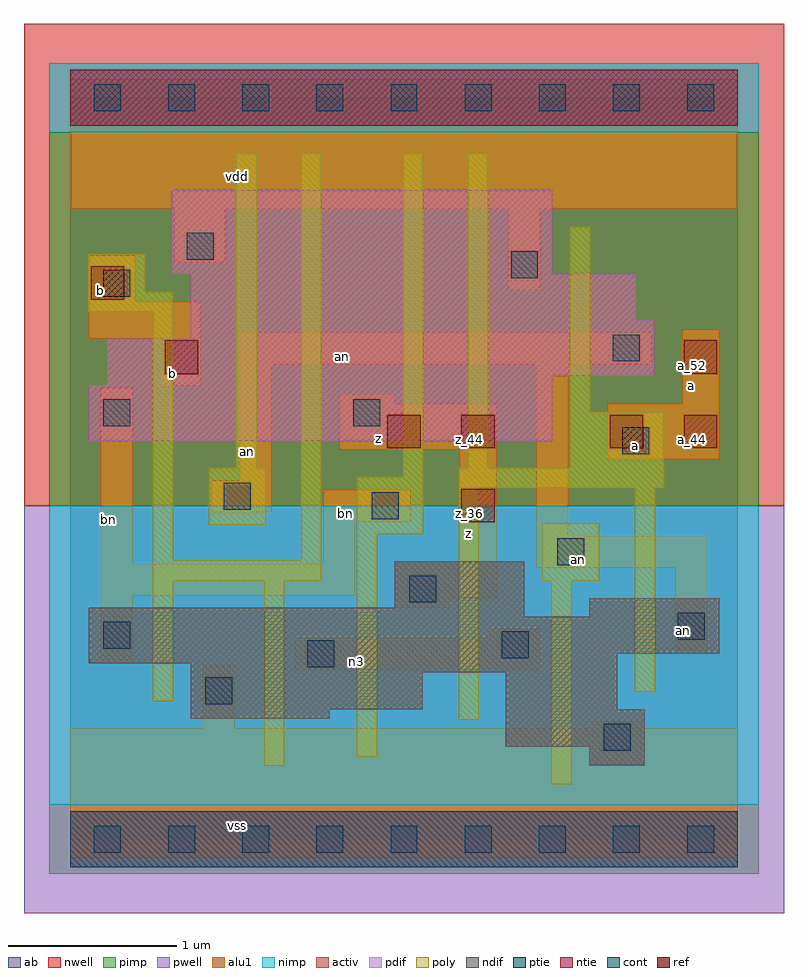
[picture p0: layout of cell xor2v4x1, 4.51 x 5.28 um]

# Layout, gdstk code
import gdstk
lib = gdstk.Library(unit=1e-6, precision=2.5e-09)
def R(c, l, rs):  # rectangles x0, y0, x1, y1
    for r in rs: c.add(gdstk.rectangle(r[:2], r[2:], *l))
def A(c, l, x, y, w, h, nx, ny, dx, dy):  # array of equal rectangles
    R(c, l, [(x+i*dx, y+j*dy, x+i*dx+w, y+j*dy+h) for i in range(nx) for j in range(ny)])
ndif = (3, 0)
pdif = (4, 0)
ntie = (5, 0)
ptie = (6, 0)
ref = (24, 0)
cont = (25, 0)
pwell = (41, 0)
nwell = (42, 0)
activ = (43, 0)
pimp = (44, 0)
nimp = (45, 0)
poly = (46, 0)
alu1 = (49, 0)
ab = (63, 0)

xor2v4x1 = lib.new_cell('xor2v4x1')
R(xor2v4x1, ndif, [(3.08,0.44,3.41,0.55), (2.585,0.55,3.41,0.77), (0.715,0.715,1.54,0.77), (0.715,0.77,2.09,0.99), (2.585,0.77,3.245,0.99), (0.715,0.99,3.245,1.045), (0.11,1.045,3.245,1.1), (0.11,1.1,3.85,1.32), (0.11,1.32,2.695,1.375), (3.08,1.32,3.85,1.43), (1.925,1.375,2.695,1.65)])
R(xor2v4x1, pdif, [(0.11,2.365,2.86,2.695), (0.22,2.695,2.86,2.75), (0.22,2.75,3.465,2.97), (0.715,2.97,3.465,3.08), (0.715,3.08,3.355,3.355), (0.605,3.355,2.86,3.85)])
R(xor2v4x1, ntie, [(0,4.235,3.96,4.565)])
R(xor2v4x1, ptie, [(0,-0.165,3.96,0.165)])
R(xor2v4x1, ref, [(2.32,1.88,2.52,2.08), (1.88,2.32,2.08,2.52), (2.32,2.32,2.52,2.52), (3.2,2.32,3.4,2.52), (3.64,2.32,3.84,2.52), (0.56,2.76,0.76,2.96), (3.64,2.76,3.84,2.96), (0.12,3.2,0.32,3.4)])
A(xor2v4x1, cont, 0.14, -0.08, 0.16, 0.16, 9, 2, 0.44, 4.4)
R(xor2v4x1, cont, [(3.165,0.525,3.325,0.685), (0.8,0.8,0.96,0.96), (1.405,1.02,1.565,1.18), (2.56,1.075,2.72,1.235), (0.195,1.13,0.355,1.29), (3.605,1.185,3.765,1.345), (2.01,1.405,2.17,1.565), (2.89,1.625,3.05,1.785), (1.79,1.9,1.95,2.06), (0.91,1.955,1.07,2.115), (3.275,2.285,3.435,2.445), (0.195,2.45,0.355,2.61), (1.68,2.45,1.84,2.61), (3.22,2.835,3.38,2.995), (0.195,3.22,0.355,3.38), (2.615,3.33,2.775,3.49), (0.69,3.44,0.85,3.6)])
R(xor2v4x1, pwell, [(-0.275,-0.44,4.235,1.98)])
R(xor2v4x1, nwell, [(-0.275,1.98,4.235,4.84)])
R(xor2v4x1, activ, [(0,-0.165,3.96,0.165), (3.08,0.44,3.41,0.55), (2.585,0.55,3.41,0.77), (0.715,0.715,1.54,0.77), (0.715,0.77,2.09,0.99), (2.585,0.77,3.245,0.99), (0.715,0.99,3.245,1.045), (0.11,1.045,3.245,1.1), (0.11,1.1,3.85,1.32), (0.11,1.32,2.695,1.375), (3.08,1.32,3.85,1.43), (1.925,1.375,2.695,1.65), (0.11,2.365,2.86,2.695), (0.22,2.695,2.86,2.75), (0.22,2.75,3.465,2.97), (0.715,2.97,3.465,3.08), (0.715,3.08,3.355,3.355), (0.605,3.355,2.86,3.85), (0,4.235,3.96,4.565)])
R(xor2v4x1, pimp, [(-0.125,-0.205,4.085,0.205), (-0.125,1.98,4.085,4.195)])
R(xor2v4x1, nimp, [(-0.125,0.205,4.085,1.98), (-0.125,4.195,4.085,4.605)])
R(xor2v4x1, poly, [(2.855,0.325,2.975,1.535), (1.15,0.435,1.27,1.535), (1.7,0.49,1.82,1.81), (2.305,0.71,2.425,2.085), (0.49,0.82,0.61,1.535), (3.35,0.875,3.47,2.085), (0.49,1.535,1.49,1.655), (2.8,1.535,3.14,1.875), (0.49,1.655,0.61,3.13), (1.37,1.655,1.49,4.075), (1.7,1.81,2.095,2.15), (0.82,1.865,1.16,2.205), (2.305,2.085,3.525,2.205), (1.975,2.15,2.095,4.075), (0.985,2.205,1.105,4.075), (2.36,2.205,2.48,4.075), (2.965,2.205,3.525,2.535), (2.965,2.535,3.085,3.635), (0.105,3.13,0.61,3.25), (0.105,3.25,0.445,3.47)])
R(xor2v4x1, alu1, [(0,-0.11,3.96,0.66), (0.785,0.66,0.975,1.03), (3.095,0.66,3.395,0.7), (1.335,1.005,2.79,1.195), (0.18,1.06,0.37,1.445), (3.59,1.115,3.78,1.61), (2.49,1.195,2.79,1.25), (1.925,1.375,2.255,1.43), (1.925,1.43,2.53,1.65), (0.18,1.445,1.69,1.635), (2.765,1.61,3.78,1.8), (0.18,1.635,0.37,2.68), (1.5,1.635,1.69,1.885), (2.31,1.65,2.53,2.31), (2.765,1.8,2.955,2.82), (1.5,1.885,2.02,2.075), (0.84,1.94,1.195,2.13), (1.005,2.13,1.195,2.82), (3.19,2.255,3.85,2.585), (1.595,2.31,2.53,2.585), (1.595,2.585,1.925,2.64), (3.63,2.585,3.85,3.025), (0.55,2.695,0.77,2.97), (1.005,2.82,3.45,3.01), (0.11,2.97,0.77,3.19), (0.11,3.19,0.385,3.465), (2.6,3.26,2.79,3.74), (0.62,3.425,0.92,3.74), (0,3.74,3.96,4.51)])
R(xor2v4x1, ab, [(0,0,3.96,4.4)])
xor2v4x1.add(gdstk.Label('vss', (0.99,0.0825), layer=49, texttype=0))
xor2v4x1.add(gdstk.Label('an', (3.6375,1.2375), layer=49, texttype=0))
xor2v4x1.add(gdstk.Label('n3', (1.6975,1.0525), layer=49, texttype=0))
xor2v4x1.add(gdstk.Label('an', (3.0175,1.6575), layer=49, texttype=0))
xor2v4x1.add(gdstk.Label('a', (3.355,2.3375), layer=49, texttype=0))
xor2v4x1.add(gdstk.Label('a', (3.685,2.695), layer=49, texttype=0))
xor2v4x1.add(gdstk.Label('z', (2.365,1.815), layer=49, texttype=0))
xor2v4x1.add(gdstk.Label('bn', (1.63,1.9325), layer=49, texttype=0))
xor2v4x1.add(gdstk.Label('z', (1.8275,2.3775), layer=49, texttype=0))
xor2v4x1.add(gdstk.Label('an', (1.0525,2.3025), layer=49, texttype=0))
xor2v4x1.add(gdstk.Label('bn', (0.2275,1.895), layer=49, texttype=0))
xor2v4x1.add(gdstk.Label('an', (1.615,2.8675), layer=49, texttype=0))
xor2v4x1.add(gdstk.Label('b', (0.605,2.7625), layer=49, texttype=0))
xor2v4x1.add(gdstk.Label('b', (0.1775,3.2575), layer=49, texttype=0))
xor2v4x1.add(gdstk.Label('vdd', (0.99,3.9325), layer=49, texttype=0))
xor2v4x1.add(gdstk.Label('a_52', (3.69,2.81), layer=24, texttype=0))
xor2v4x1.add(gdstk.Label('a_44', (3.69,2.37), layer=24, texttype=0))
xor2v4x1.add(gdstk.Label('a_44', (3.25,2.37), layer=24, texttype=0))
xor2v4x1.add(gdstk.Label('b_52', (0.61,2.81), layer=24, texttype=0))
xor2v4x1.add(gdstk.Label('b_60', (0.17,3.25), layer=24, texttype=0))
xor2v4x1.add(gdstk.Label('z_36', (2.37,1.93), layer=24, texttype=0))
xor2v4x1.add(gdstk.Label('z_44', (1.93,2.37), layer=24, texttype=0))
xor2v4x1.add(gdstk.Label('z_44', (2.37,2.37), layer=24, texttype=0))

lib.write_gds('xor2v4x1.gds')
